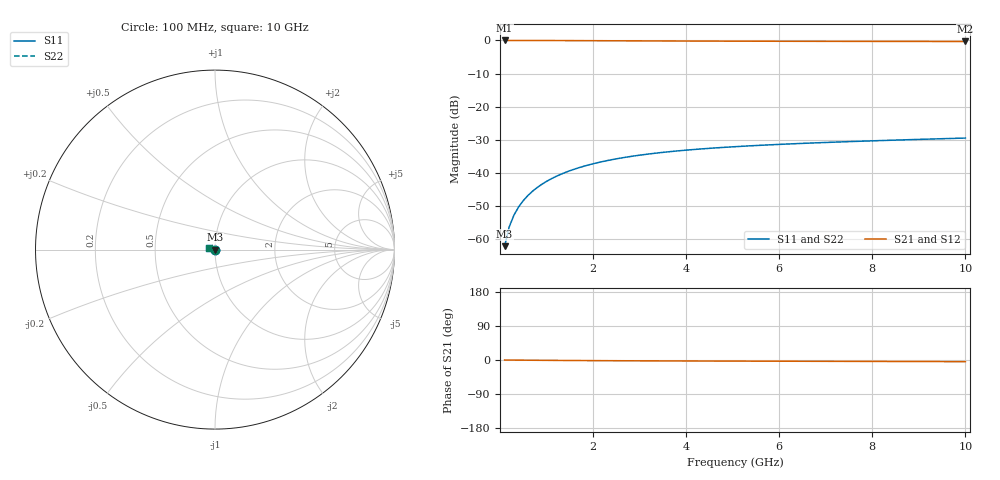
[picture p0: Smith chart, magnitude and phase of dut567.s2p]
! Touchstone file exported from HFSS 2024.1.0
!  File:  C:/UserFiles/LocalFiles/RDL_TSV_Batchsim/temp_TSV1_567_1779707883.aedt
!  Generated:  07:23:15 PM May 25, 2026
!  Design:  TSV1
!  Project:  temp_TSV1_567_1779707883
!  Setup:  Setup1
!  Solution:  Sweep
! Variables:
!  dtsv = 7.65um
!  hbump = 3um
!  htsv = 65.57um
!  lrdl = 252.1521522um
!  p = 40
!  p1 = 46.32um
!  t = 500um
!  trdl = 3um
!  wrdl = 24.89489489um
# GHz S MA R 50.000000
! Terminal data exported
! Port[1] = TSV22_T1
! Port[2] = TSV22_T2
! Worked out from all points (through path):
!   100 points, 100 MHz to 10 GHz, reference 50 ohm
!   highest |S21| = 0.00 dB at 100 MHz (marker M1); lowest = -0.3 dB at 10 GHz (marker M2)
!   lowest |S11| = -62.0 dB at 100 MHz (marker M3), VSWR 1.00, Z = 50 - j0.0769 ohm
!   |S11| at or under -10 dB: start of sweep to end of sweep
!   |S22| runs from -62.0 to -29.4 dB; largest |S21 - S12| = 8.6e-15
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0.1  0.0007932 -75.8  0.9998 -0.1  0.9998 -0.1  0.0007932 -75.8
! Gamma 0 0 0 0
! Port Impedance 50 0 50 0
0.2  0.001556 -85.5  0.9997 -0.2  0.9997 -0.2  0.001556 -85.5
0.3  0.002322 -90.1  0.9995 -0.3  0.9995 -0.3  0.002322 -90.1
0.4  0.003086 -93.3  0.9993 -0.4  0.9993 -0.4  0.003086 -93.3
0.5  0.003844 -96.0  0.9991 -0.5  0.9991 -0.5  0.003844 -96.0
0.6  0.004596 -98.4  0.9988 -0.6  0.9988 -0.6  0.004596 -98.4
0.7  0.005339 -100.6  0.9985 -0.6  0.9985 -0.6  0.005339 -100.6
0.8  0.006073 -102.7  0.9982 -0.7  0.9982 -0.7  0.006073 -102.7
0.9  0.006796 -104.8  0.9978 -0.8  0.9978 -0.8  0.006796 -104.8
1.1  0.008207 -108.6  0.9968 -1.0  0.9968 -1.0  0.008207 -108.6
1.4  0.01022 -114.1  0.9953 -1.2  0.9953 -1.2  0.01022 -114.1
1.6  0.01149 -117.6  0.9941 -1.4  0.9941 -1.4  0.01149 -117.6
1.8  0.0127 -121.0  0.9929 -1.5  0.9929 -1.5  0.0127 -121.0
2.1  0.01439 -125.7  0.991 -1.7  0.991 -1.7  0.01439 -125.7
2.5  0.01643 -131.7  0.9884 -1.9  0.9884 -1.9  0.01643 -131.7
2.9  0.01823 -137.2  0.9859 -2.1  0.9859 -2.1  0.01823 -137.2
3.4  0.0202 -143.6  0.983 -2.3  0.983 -2.3  0.0202 -143.6
4.2  0.02281 -152.5  0.9788 -2.6  0.9788 -2.6  0.02281 -152.5
5.1  0.02517 -161.2  0.9751 -2.9  0.9751 -2.9  0.02517 -161.2
6.7  0.02846 -173.9  0.9702 -3.4  0.9702 -3.4  0.02846 -173.9
8.4  0.03132 175.3  0.9667 -3.9  0.9667 -3.9  0.03132 175.3
10  0.03379 166.8  0.9645 -4.4  0.9645 -4.4  0.03379 166.8
